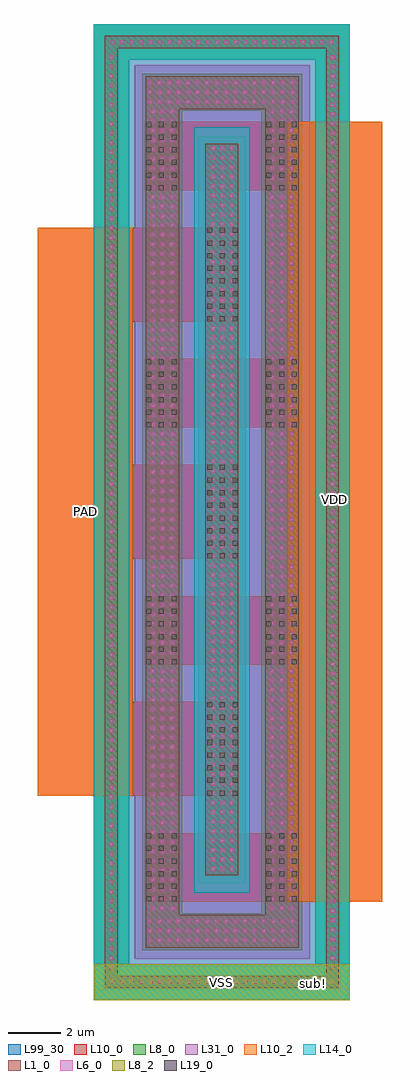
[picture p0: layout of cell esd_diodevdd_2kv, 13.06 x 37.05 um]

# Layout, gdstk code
import gdstk
lib = gdstk.Library(unit=1e-6, precision=1e-09)
def R(c, l, rs):  # rectangles x0, y0, x1, y1
    for r in rs: c.add(gdstk.rectangle(r[:2], r[2:], *l))
def A(c, l, x, y, w, h, nx, ny, dx, dy):  # array of equal rectangles
    R(c, l, [(x+i*dx, y+j*dy, x+i*dx+w, y+j*dy+h) for i in range(nx) for j in range(ny)])
def P(c, l, *ps):  # polygons
    for p in ps: c.add(gdstk.Polygon(p, *l))
L1_0 = (1, 0)
L6_0 = (6, 0)
L8_0 = (8, 0)
L8_2 = (8, 2)
L10_0 = (10, 0)
L10_2 = (10, 2)
L14_0 = (14, 0)
L19_0 = (19, 0)
L31_0 = (31, 0)
L99_30 = (99, 30)

esd_diodevdd_2kv = lib.new_cell('esd_diodevdd_2kv')
R(esd_diodevdd_2kv, L1_0, [(4.23,4.73,5.49,32.51)])
P(esd_diodevdd_2kv, L1_0, [(1.98,1.98),(1.98,3.24),(6.51,3.24),(6.51,33.81),(3.24,33.81),(3.24,3.24),(1.98,3.24),(1.98,35.07),(7.77,35.07),(7.77,1.98)],
  [(0.42,0.45),(0.42,0.93),(8.82,0.93),(8.82,36.12),(0.9,36.12),(0.9,0.93),(0.42,0.93),(0.42,36.6),(9.3,36.6),(9.3,0.45)])
A(esd_diodevdd_2kv, L6_0, 0.64, 0.61, 0.16, 0.16, 24, 2, 0.36, 35.67)
A(esd_diodevdd_2kv, L6_0, 0.58, 1.145, 0.16, 0.16, 1, 97, 0, 0.36)
A(esd_diodevdd_2kv, L6_0, 8.98, 1.145, 0.16, 0.16, 1, 97, 0, 0.36)
A(esd_diodevdd_2kv, L6_0, 2.055, 2.19, 0.16, 0.16, 16, 3, 0.36, 0.36)
A(esd_diodevdd_2kv, L6_0, 2.165, 3.405, 0.16, 0.16, 3, 85, 0.36, 0.36)
A(esd_diodevdd_2kv, L6_0, 6.695, 3.405, 0.16, 0.16, 3, 85, 0.36, 0.36)
A(esd_diodevdd_2kv, L6_0, 4.44, 4.89, 0.16, 0.16, 3, 77, 0.36, 0.36)
A(esd_diodevdd_2kv, L6_0, 2.055, 34.02, 0.16, 0.16, 16, 3, 0.36, 0.36)
R(esd_diodevdd_2kv, L8_0, [(3.96,4.43,5.76,32.78)])
P(esd_diodevdd_2kv, L8_0, [(1.83,1.89),(1.83,3.3),(6.36,3.3),(6.36,33.75),(3.36,33.75),(3.36,3.3),(1.83,3.3),(1.83,35.16),(7.92,35.16),(7.92,1.89)],
  [(0,0),(0,1.35),(8.4,1.35),(8.4,35.7),(1.35,35.7),(1.35,1.35),(0,1.35),(0,37.05),(9.72,37.05),(9.72,0)])
R(esd_diodevdd_2kv, L8_2, [(0,0,9.72,1.35)])
P(esd_diodevdd_2kv, L10_0, [(1.94,3.735),(1.94,6.335),(7.34,6.335),(7.34,12.735),(1.94,12.735),(1.94,15.335),(7.34,15.335),(7.34,21.735),(1.94,21.735),(1.94,24.335),(7.34,24.335),(7.34,30.735),(1.94,30.735),(1.94,33.335),(10.94,33.335),(10.94,3.735)],
  [(-2.12,7.755),(-2.12,29.315),(5.505,29.315),(5.505,25.755),(1.48,25.755),(1.48,20.315),(5.505,20.315),(5.505,16.755),(1.48,16.755),(1.48,11.315),(5.505,11.315),(5.505,7.755)])
R(esd_diodevdd_2kv, L10_2, [(7.34,3.735,10.94,33.335), (-2.12,7.755,1.48,29.315)])
R(esd_diodevdd_2kv, L14_0, [(3.81,4.07,5.91,33.14)])
P(esd_diodevdd_2kv, L14_0, [(0,0),(0,1.35),(8.4,1.35),(8.4,35.7),(1.35,35.7),(1.35,1.35),(0,1.35),(0,37.05),(9.72,37.05),(9.72,0)])
A(esd_diodevdd_2kv, L19_0, 1.99, 3.74, 0.19, 0.19, 3, 6, 0.48, 0.48)
A(esd_diodevdd_2kv, L19_0, 6.55, 3.74, 0.19, 0.19, 3, 6, 0.48, 0.48)
A(esd_diodevdd_2kv, L19_0, 4.305, 7.76, 0.19, 0.19, 3, 8, 0.48, 0.48)
A(esd_diodevdd_2kv, L19_0, 1.99, 12.74, 0.19, 0.19, 3, 6, 0.48, 0.48)
A(esd_diodevdd_2kv, L19_0, 6.55, 12.74, 0.19, 0.19, 3, 6, 0.48, 0.48)
A(esd_diodevdd_2kv, L19_0, 4.305, 16.76, 0.19, 0.19, 3, 8, 0.48, 0.48)
A(esd_diodevdd_2kv, L19_0, 1.99, 21.74, 0.19, 0.19, 3, 6, 0.48, 0.48)
A(esd_diodevdd_2kv, L19_0, 6.55, 21.74, 0.19, 0.19, 3, 6, 0.48, 0.48)
A(esd_diodevdd_2kv, L19_0, 4.305, 25.76, 0.19, 0.19, 3, 8, 0.48, 0.48)
A(esd_diodevdd_2kv, L19_0, 1.99, 30.74, 0.19, 0.19, 3, 6, 0.48, 0.48)
A(esd_diodevdd_2kv, L19_0, 6.55, 30.74, 0.19, 0.19, 3, 6, 0.48, 0.48)
R(esd_diodevdd_2kv, L31_0, [(1.56,1.56,8.19,35.49)])
R(esd_diodevdd_2kv, L99_30, [(0,0,9.72,37.05)])
esd_diodevdd_2kv.add(gdstk.Label('PAD', (-0.32,18.535), layer=63, texttype=0))
esd_diodevdd_2kv.add(gdstk.Label('VDD', (9.15,18.99), layer=63, texttype=0))
esd_diodevdd_2kv.add(gdstk.Label('VSS', (4.86,0.675), layer=63, texttype=0))
esd_diodevdd_2kv.add(gdstk.Label('sub!', (8.33,0.625), layer=63, texttype=0))
esd_diodevdd_2kv.add(gdstk.Label('VSS', (4.86,0.675), layer=8, texttype=25))
esd_diodevdd_2kv.add(gdstk.Label('PAD', (-0.32,18.535), layer=10, texttype=25))
esd_diodevdd_2kv.add(gdstk.Label('VDD', (9.14,18.535), layer=10, texttype=25))

lib.write_gds('esd_diodevdd_2kv.gds')
